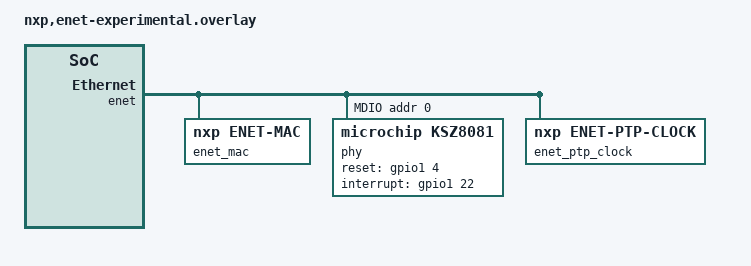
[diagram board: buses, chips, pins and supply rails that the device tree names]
/*
 * Copyright 2023 NXP
 *
 * Experimental ENET binding overlay
 */


/ {
	soc {
		/delete-node/ ethernet@402d8000;

		enet: enet@402d8000 {
			compatible = "nxp,enet";
			reg = <0x402D8000 0x628>;
			clocks = <&ccm IMX_CCM_ENET_CLK 0 0>;
			enet_mac: ethernet {
				compatible = "nxp,enet-mac";
				interrupts = <114 0>;
				interrupt-names = "COMMON";
				nxp,mdio = <&enet_mdio>;
				nxp,ptp-clock = <&enet_ptp_clock>;
				phy-connection-type = "rmii";
				status = "disabled";
			};
			enet_mdio: mdio {
				compatible = "nxp,enet-mdio";
				status = "disabled";
				#address-cells = <1>;
				#size-cells = <0>;
			};
			enet_ptp_clock: ptp_clock {
				compatible = "nxp,enet-ptp-clock";
				interrupts = <115 0>;
				status = "disabled";
				clocks = <&ccm IMX_CCM_ENET_PLL 0 0>;
			};
		};
	};
};

&enet_mac {
	status = "okay";
	pinctrl-0 = <&pinmux_enet>;
	pinctrl-names = "default";
	phy-handle = <&phy>;
	zephyr,random-mac-address;
};

&enet_mdio {
	status = "okay";
	pinctrl-0 = <&pinmux_enet_mdio>;
	pinctrl-names = "default";
	phy: phy@0 {
		compatible = "microchip,ksz8081";
		reg = <0>;
		status = "okay";
		mc,reset-gpio = <&gpio1 4 GPIO_ACTIVE_HIGH>;
		mc,interrupt-gpio = <&gpio1 22 GPIO_ACTIVE_HIGH>;
		mc,interface-type = "rmii";
	};
};

&enet_ptp_clock {
	status = "okay";
	pinctrl-0 = <&pinmux_ptp>;
	pinctrl-names = "default";
};



&pinctrl {
	/delete-node/ pinmux_ptp;
	/delete-node/ pinmux_enet;

	pinmux_enet: pinmux_enet {
		group0 {
			pinmux = <&iomuxc_gpio_ad_b0_08_enet_ref_clk>;
			bias-disable;
			drive-strength = "r0-6";
			slew-rate = "fast";
			nxp,speed = "50-mhz";
			input-enable;
		};
		group1 {
			pinmux = <&iomuxc_gpio_ad_b0_09_enet_rx_data1>,
				<&iomuxc_gpio_ad_b0_11_enet_rx_en>,
				<&iomuxc_gpio_ad_b0_14_enet_tx_data0>,
				<&iomuxc_gpio_ad_b0_15_enet_tx_data1>,
				<&iomuxc_gpio_ad_b0_13_enet_tx_en>,
				<&iomuxc_gpio_ad_b0_12_enet_rx_er>;
			drive-strength = "r0-5";
			bias-pull-up;
			bias-pull-up-value = "100k";
			slew-rate = "fast";
			nxp,speed = "200-mhz";
		};
		group2 {
			pinmux = <&iomuxc_gpio_ad_b0_10_enet_rx_data0>;
			drive-strength = "r0-6";
			slew-rate = "slow";
			nxp,speed = "100-mhz";
		};
	};

	pinmux_enet_mdio: pinmux_enet_mdio {
		group0 {
			pinmux = <&iomuxc_gpio_emc_40_enet_mdio>,
				<&iomuxc_gpio_emc_41_enet_mdc>;
			drive-strength = "r0-5";
			bias-pull-up;
			bias-pull-up-value = "100k";
			slew-rate = "fast";
			nxp,speed = "200-mhz";
		};
		group1 {
			pinmux = <&iomuxc_gpio_ad_b1_06_gpio1_io22>;
			drive-strength = "r0-5";
			bias-pull-up;
			bias-pull-up-value = "100k";
			slew-rate = "slow";
			nxp,speed = "100-mhz";
		};
		group2 {
			pinmux = <&iomuxc_gpio_ad_b0_04_gpio1_io04>;
			drive-strength = "r0-5";
			bias-pull-up;
			bias-pull-up-value = "100k";
			slew-rate = "fast";
			nxp,speed = "100-mhz";
		};
	};

	pinmux_ptp: pinmux_ptp {
		/* Intentionally empty */
	};
};
